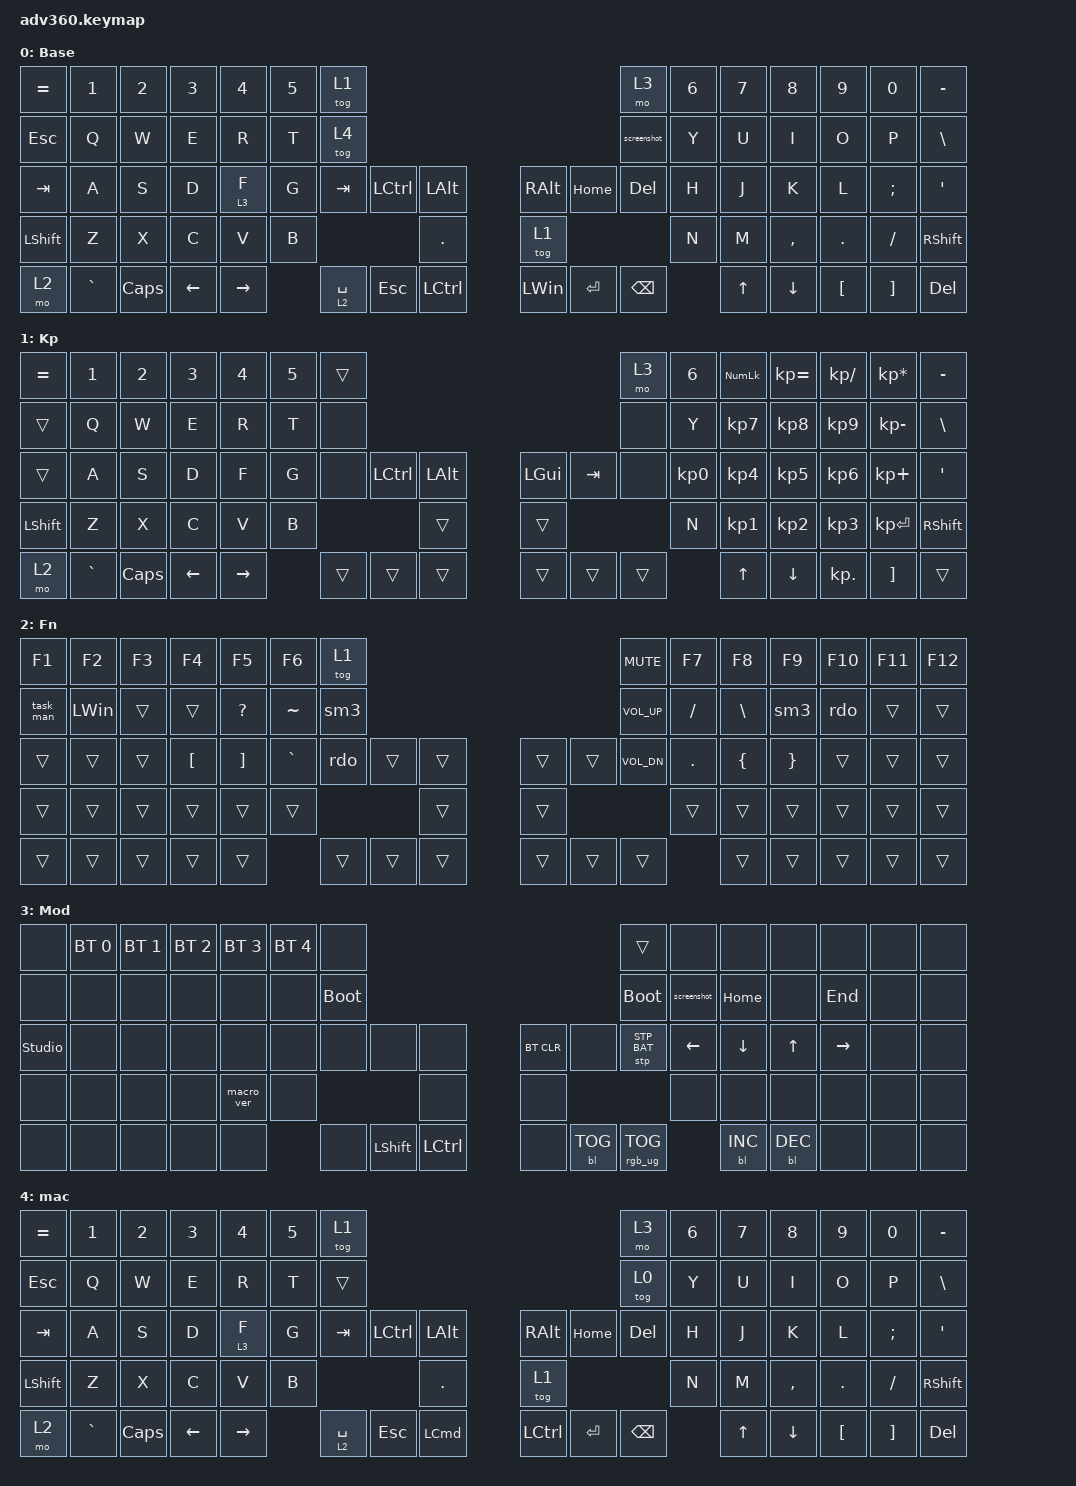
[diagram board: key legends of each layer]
#include <dt-bindings/zmk/stp.h>
#include <behaviors.dtsi>
#include <dt-bindings/zmk/backlight.h>
#include <dt-bindings/zmk/bt.h>
#include <dt-bindings/zmk/keys.h>
#include <dt-bindings/zmk/rgb.h>

/ {
    behaviors {
        #include "macros.dtsi"
      #include "version.dtsi"

        hm: homerow_mods {
            compatible = "zmk,behavior-hold-tap";
            label = "HOMEROW_MODS";
            #binding-cells = <2>;
            tapping-term-ms = <200>;
            quick_tap_ms = <175>;
            flavor = "tap-preferred";
            bindings = <&kp>, <&kp>;
        };

        HML: HML {
            compatible = "zmk,behavior-hold-tap";
            label = "HML";
            bindings = <&kp>, <&kp>;

            #binding-cells = <2>;
            tapping-term-ms = <200>;
            flavor = "balanced";
            quick-tap-ms = <175>;
            hold-trigger-key-positions = <0 1 2 3 4 5 6 14 15 16 17 18 19 20 28 29 30 31 32 33 34 35 36 46 47 48 49 50 51 52 60 61 62 63 64 65 66 67>;
        };

        new_behavior: new_behavior {
            compatible = "zmk,behavior-hold-tap";
            label = "NEW_BEHAVIOR";
            bindings = <&kp>, <&kp>;

            #binding-cells = <2>;
            tapping-term-ms = <280>;
            flavor = "balanced";
            quick-tap-ms = <175>;
            hold-trigger-key-positions = <0 1 14 15 16 17 18 19 20 28 29 30 31 32 33 34 35 36 46 47 48 49 50 51 52 60 61 62 63 64 65 66 67 2 3 4 5 6>;
        };

        layer2: layer2 {
            compatible = "zmk,behavior-toggle-layer";
            label = "LAYER2";
            #binding-cells = <1>;
            toggle-mode = "flip";
        };

        HMR: HMR {
            compatible = "zmk,behavior-hold-tap";
            label = "HMR";
            bindings = <&kp>, <&kp>;

            #binding-cells = <2>;
            tapping-term-ms = <200>;
            flavor = "balanced";
            hold-trigger-key-positions = <12 13 21 22 23 24 25 26 27 37 38 39 40 41 42 43 44 45 53 54 55 56 57 58 59 68 69 70 71 72 73 74 75 7 8 9 10 11 12 13>;
        };

        layerswitch: layerswitch {
            compatible = "zmk,behavior-hold-tap";
            label = "LAYERSWITCH";
            bindings = <&mo>, <&kp>;

            #binding-cells = <2>;
            hold-trigger-key-positions = <65 70 32>;
            tapping-term-ms = <300>;
            flavor = "balanced";
        };

        thumb2: thumb2 {
            compatible = "zmk,behavior-hold-tap";
            label = "THUMB2";
            bindings = <&kp>, <&kp>;

            #binding-cells = <2>;
            tapping-term-ms = <500>;
            hold-trigger-key-positions = <66>;
            flavor = "tap-preferred";
        };

        snip: snip {
            compatible = "zmk,behavior-tap-dance";
            label = "SNIP";
            #binding-cells = <0>;
            bindings = <&screenshot>;
        };
    };

    combos {
        compatible = "zmk,combos";

        cp {
            bindings = <&kp LS(MINUS)>;
            key-positions = <33 40>;
        };
    };

    macros {
        sm3: sm3 {
            compatible = "zmk,behavior-macro";
            #binding-cells = <0>;
            bindings = <&kp LC(LA(LS(S)))>;
            label = "SM3";
        };

        rdo: rdo {
            compatible = "zmk,behavior-macro";
            #binding-cells = <0>;
            bindings = <&kp LA(LC(LS(R)))>;
            label = "RDO";
        };

        task_man: task_man {
            compatible = "zmk,behavior-macro";
            #binding-cells = <0>;
            bindings = <&kp LC(LS(ESCAPE))>;
            label = "TASK_MAN";
        };

        screenshot: screenshot {
            compatible = "zmk,behavior-macro";
            #binding-cells = <0>;
            bindings =
                <&macro_press>,
                <&kp LEFT_WIN>,
                <&macro_press>,
                <&kp LEFT_SHIFT>,
                <&macro_tap>,
                <&kp S>,
                <&macro_release>,
                <&kp LEFT_SHIFT>,
                <&macro_release>,
                <&kp LEFT_WIN>;

            label = "SCREENSHOT";
        };
    };

    keymap {
        compatible = "zmk,keymap";

        Windows {
            display-name = "Base";
            bindings = <
&kp EQUAL   &kp N1     &kp N2    &kp N3    &kp N4            &kp N5  &tog 1                                                                           &mo 3          &kp N6  &kp N7  &kp N8     &kp N9    &kp N0    &kp MINUS
&kp ESCAPE  &kp Q      &kp W     &kp E     &kp R             &kp T   &tog 4                                                                           &screenshot    &kp Y   &kp U   &kp I      &kp O     &kp P     &kp BSLH
&kp TAB     &kp A      &kp S     &kp D     &layerswitch 3 F  &kp G   &kp TAB               &kp LCTRL   &kp LALT              &kp RALT      &kp HOME   &kp DELETE     &kp H   &kp J   &kp K      &kp L     &kp SEMI  &kp SQT
&kp LSHFT   &kp Z      &kp X     &kp C     &kp V             &kp B                                     &kp PERIOD            &tog 1                                  &kp N   &kp M   &kp COMMA  &kp DOT   &kp FSLH  &kp RSHFT
&mo 2       &kp GRAVE  &kp CAPS  &kp LEFT  &kp RIGHT                 &layerswitch 2 SPACE  &kp ESCAPE  &kp LEFT_CONTROL      &kp LEFT_WIN  &kp ENTER  &kp BACKSPACE          &kp UP  &kp DOWN   &kp LBKT  &kp RBKT  &kp DELETE
            >;
        };

        keypad {
            display-name = "Kp";
            bindings = <
&kp EQUAL  &kp N1     &kp N2    &kp N3    &kp N4     &kp N5  &trans                                              &mo 3   &kp N6     &kp KP_NUM  &kp KP_EQUAL  &kp KP_DIVIDE  &kp KP_MULTIPLY  &kp MINUS
&trans     &kp Q      &kp W     &kp E     &kp R      &kp T   &none                                               &none   &kp Y      &kp KP_N7   &kp KP_N8     &kp KP_N9      &kp KP_MINUS     &kp BSLH
&trans     &kp A      &kp S     &kp D     &kp F      &kp G   &none   &kp LCTRL  &kp LALT      &kp LGUI  &kp TAB  &none   &kp KP_N0  &kp KP_N4   &kp KP_N5     &kp KP_N6      &kp KP_PLUS      &kp SQT
&kp LSHFT  &kp Z      &kp X     &kp C     &kp V      &kp B                      &trans        &trans                     &kp N      &kp KP_N1   &kp KP_N2     &kp KP_N3      &kp KP_ENTER     &kp RSHFT
&mo 2      &kp GRAVE  &kp CAPS  &kp LEFT  &kp RIGHT          &trans  &trans     &trans        &trans    &trans   &trans             &kp UP      &kp DOWN      &kp KP_DOT     &kp RBKT         &trans
            >;
        };

        fn {
            display-name = "Fn";
            bindings = <
&kp F1     &kp F2        &kp F3  &kp F4            &kp F5             &kp F6     &tog 1                                      &kp C_MUTE       &kp F7      &kp F8          &kp F9           &kp F10  &kp F11  &kp F12
&task_man  &kp LEFT_WIN  &trans  &trans            &kp QUESTION       &kp TILDE  &sm3                                        &kp C_VOLUME_UP  &kp SLASH   &kp BACKSLASH   &sm3             &rdo     &trans   &trans
&trans     &trans        &trans  &kp LEFT_BRACKET  &kp RIGHT_BRACKET  &kp GRAVE  &rdo    &trans  &trans      &trans  &trans  &kp C_VOL_DN     &kp PERIOD  &kp LEFT_BRACE  &kp RIGHT_BRACE  &trans   &trans   &trans
&trans     &trans        &trans  &trans            &trans             &trans                     &trans      &trans                           &trans      &trans          &trans           &trans   &trans   &trans
&trans     &trans        &trans  &trans            &trans                        &trans  &trans  &trans      &trans  &trans  &trans                       &trans          &trans           &trans   &trans   &trans
            >;
        };

        mod {
            display-name = "Mod";
            bindings = <
&none           &bt BT_SEL 0  &bt BT_SEL 1  &bt BT_SEL 2  &bt BT_SEL 3  &bt BT_SEL 4  &none                                                                      &trans           &none           &none           &none         &none      &none  &none
&none           &none         &none         &none         &none         &none         &bootloader                                                                &bootloader      &screenshot     &kp HOME        &none         &kp END    &none  &none
&studio_unlock  &none         &none         &none         &none         &none         &none        &none           &none                 &bt BT_CLR  &none       &stp STP_BAT     &kp LEFT_ARROW  &kp DOWN_ARROW  &kp UP_ARROW  &kp RIGHT  &none  &none
&none           &none         &none         &none         &macro_ver    &none                                      &none                 &none                                    &none           &none           &none         &none      &none  &none
&none           &none         &none         &none         &none                       &none        &kp LEFT_SHIFT  &kp LEFT_CONTROL      &none       &bl BL_TOG  &rgb_ug RGB_TOG                  &bl BL_INC      &bl BL_DEC    &none      &none  &none
            >;
        };

        Mac {
            display-name = "mac";
            bindings = <
&kp EQUAL   &kp N1     &kp N2    &kp N3    &kp N4            &kp N5  &tog 1                                                                               &mo 3          &kp N6  &kp N7  &kp N8     &kp N9    &kp N0    &kp MINUS
&kp ESCAPE  &kp Q      &kp W     &kp E     &kp R             &kp T   &trans                                                                               &tog 0         &kp Y   &kp U   &kp I      &kp O     &kp P     &kp BSLH
&kp TAB     &kp A      &kp S     &kp D     &layerswitch 3 F  &kp G   &kp TAB               &kp LCTRL   &kp LALT              &kp RALT          &kp HOME   &kp DELETE     &kp H   &kp J   &kp K      &kp L     &kp SEMI  &kp SQT
&kp LSHFT   &kp Z      &kp X     &kp C     &kp V             &kp B                                     &kp PERIOD            &tog 1                                      &kp N   &kp M   &kp COMMA  &kp DOT   &kp FSLH  &kp RSHFT
&mo 2       &kp GRAVE  &kp CAPS  &kp LEFT  &kp RIGHT                 &layerswitch 2 SPACE  &kp ESCAPE  &kp LEFT_COMMAND      &kp LEFT_CONTROL  &kp ENTER  &kp BACKSPACE          &kp UP  &kp DOWN   &kp LBKT  &kp RBKT  &kp DELETE
            >;
        };
    };
};
